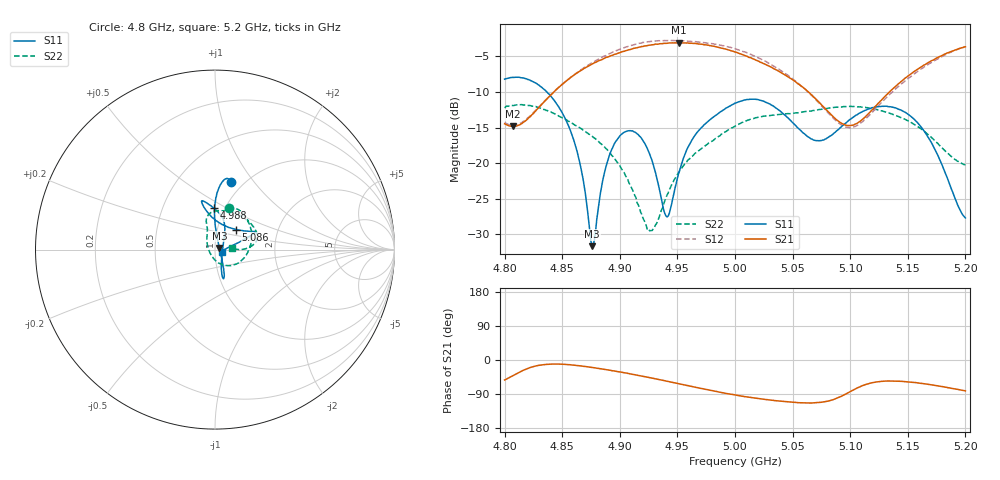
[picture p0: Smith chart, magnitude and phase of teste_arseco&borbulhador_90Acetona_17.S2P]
! Network Analyzer HP8722D
! Hewlett-Packard
! Data name: Linha & Wilkinson
! Saver's name: Rodrigo Anjos
! Comments: Teste da utilização de aquisição
! continua pelo VNA HP8722D
! Time and date: 17/4/2025 11:11
!  Frequency  S11  S21  S12  S22
# HZ  S  MA R 50
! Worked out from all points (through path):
!   401 points, 4.8 GHz to 5.2 GHz, reference 50 ohm
!   highest |S21| = -3.08 dB at 4.951 GHz (marker M1); lowest = -14.8 dB at 4.807 GHz (marker M2)
!   lowest |S11| = -31.7 dB at 4.876 GHz (marker M3), VSWR 1.05, Z = 52.5 + j0.982 ohm
!   |S11| at or under -10 dB: 4.837 GHz to end of sweep
!   |S22| runs from -29.5 to -11.8 dB; largest |S21 - S12| = 1.4
!   S11 on the Smith chart (normalised r, x): 4.8 GHz: 0.87, +0.78; 4.988 GHz: 0.89, +0.43; 5.086 GHz: 1.23, +0.28; 5.2 GHz: 1.08, -0.03
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4.8e9  0.3895 76.8  0.189 -52.8  0.1928 82.1  0.2444 71.8
4.807e9  0.4009 78.9  0.1813 -41.6  0.1842 92.3  0.2541 66.1
4.845e9  0.2624 89.8  0.3302 -10.6  0.3302 122.8  0.2193 21.3
4.858e9  0.1621 90.2  0.4037 -13.0  0.4055 122.5  0.1919 1.8
4.867e9  0.08582 83.9  0.4517 -16.0  0.4565 121.2  0.1739 -12.0
4.876e9  0.02606 21.0  0.4979 -19.7  0.5092 118.9  0.1545 -26.5
4.889e9  0.1006 -63.7  0.5559 -25.7  0.5784 114.6  0.1246 -46.0
4.902e9  0.161 -71.6  0.6076 -32.5  0.6422 109.0  0.08998 -66.1
4.925e9  0.1206 -72.8  0.6739 -45.8  0.7148 96.2  0.03415 -141.9
4.934e9  0.06765 -57.5  0.6889 -51.5  0.7268 90.4  0.04129 161.2
4.941e9  0.04182 -6.8  0.6971 -56.0  0.7273 85.9  0.05956 138.2
4.951e9  0.08414 52.3  0.7018 -62.6  0.7261 79.6  0.08588 121.2
4.965e9  0.1556 70.5  0.695 -71.5  0.7168 70.6  0.1166 111.2
4.988e9  0.2311 91.7  0.6441 -85.7  0.6744 55.9  0.1597 107.8
5e9  0.2642 100.1  0.6046 -92.3  0.6388 48.4  0.1827 104.7
5.028e9  0.265 105.5  0.4876 -104.5  0.5113 33.9  0.2159 88.9
5.067e9  0.1474 76.5  0.2998 -113.4  0.2966 27.6  0.2335 54.4
5.086e9  0.1627 43.5  0.2093 -103.7  0.2047 39.2  0.2465 36.5
5.105e9  0.2171 27.9  0.1888 -75.5  0.1823 69.2  0.2492 22.1
5.134e9  0.2496 23.2  0.3165 -55.5  0.3025 91.0  0.2249 8.9
5.165e9  0.1645 18.8  0.4925 -63.1  0.479 85.0  0.1659 1.1
5.2e9  0.04117 -17.3  0.6577 -81.6  0.6611 67.5  0.09726 5.6
